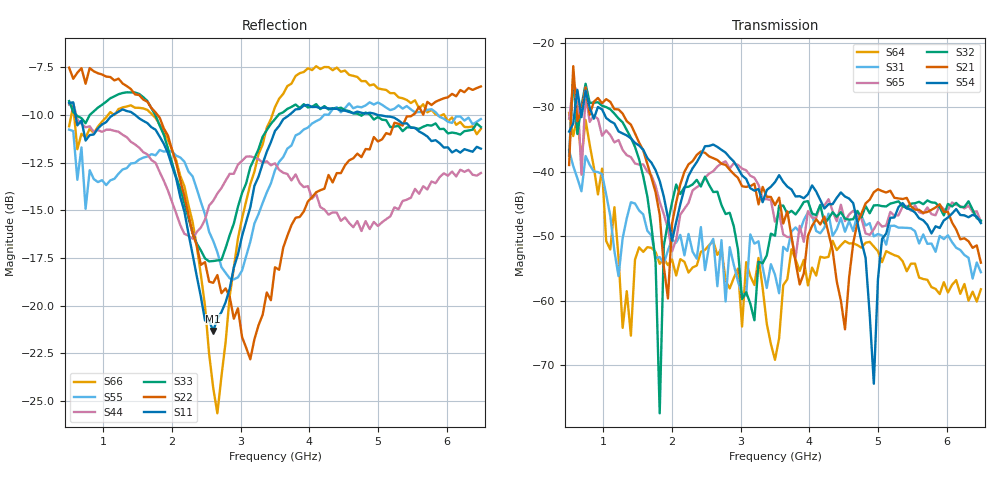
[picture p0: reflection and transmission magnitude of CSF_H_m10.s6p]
!Keysight Technologies,M9804A,MY58100912,A.14.10.03
!Date: Thursday, April 27, 2023 10:28:33
!Correction: S11(C  6-Port  )
!S12(C  6-Port  )
!S13(C  6-Port  )
!S14(C  6-Port  )
!S15(C  6-Port  )
!S16(C  6-Port  )
!S21(C  6-Port  )
!S22(C  6-Port  )
!S23(C  6-Port  )
!S24(C  6-Port  )
!S25(C  6-Port  )
!S26(C  6-Port  )
!S31(C  6-Port  )
!S32(C  6-Port  )
!S33(C  6-Port  )
!S34(C  6-Port  )
!S35(C  6-Port  )
!S36(C  6-Port  )
!S41(C  6-Port  )
!S42(C  6-Port  )
!S43(C  6-Port  )
!S44(C  6-Port  )
!S45(C  6-Port  )
!S46(C  6-Port  )
!S51(C  6-Port  )
!S52(C  6-Port  )
!S53(C  6-Port  )
!S54(C  6-Port  )
!S55(C  6-Port  )
!S56(C  6-Port  )
!S61(C  6-Port  )
!S62(C  6-Port  )
!S63(C  6-Port  )
!S64(C  6-Port  )
!S65(C  6-Port  )
!S66(C  6-Port  )
!S6P File: Measurement: :
# Hz S  RI  R 50
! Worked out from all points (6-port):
!   101 points, 500 MHz to 6.5 GHz, reference 50 ohm
!   strongest paths, dB at 500 MHz, 2 GHz, 3.5 GHz, 5 GHz, 6.5 GHz:
!     S54: -33.8, -50.7, -41.6, -56.7, -47.9
!     S21: -39.0, -48.0, -45.2, -42.7, -54.1
!     S32: -37.4, -44.8, -49.9, -45.2, -47.5
!     S65: -31.8, -52.3, -47.7, -47.8, -47.7
!     S31: -36.7, -50.5, -55.9, -49.6, -55.6
!     S64: -30.9, -53.6, -69.1, -52.3, -58.2
!   lowest |S11| = -21.3 dB at 2.6 GHz (marker M1), VSWR 1.19, Z = 42.4 + j2.29 ohm
!   |S11| at or under -10 dB: 592.6 MHz to 1.144 GHz (551.5 MHz wide, 63.5 % of centre); 1.461 GHz to 3.709 GHz (2.249 GHz wide, 87 % of centre); 4.99 GHz to end of sweep
